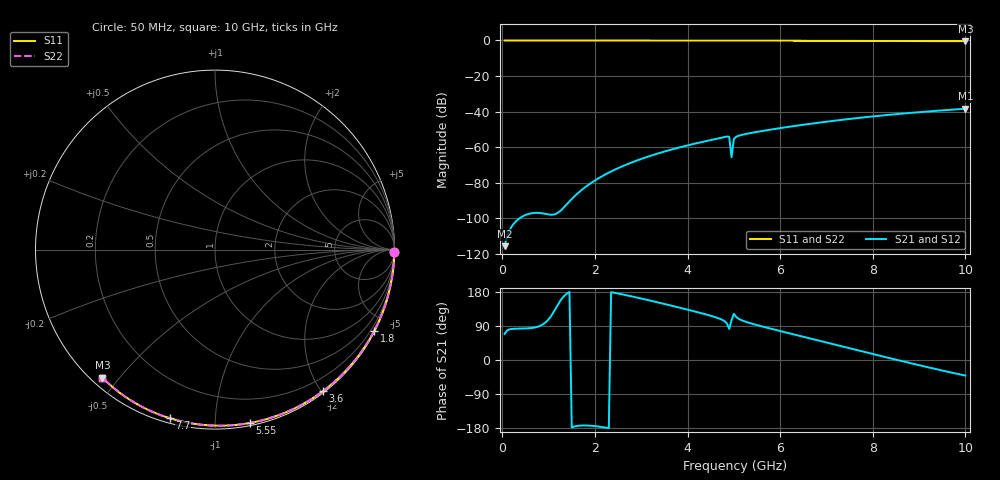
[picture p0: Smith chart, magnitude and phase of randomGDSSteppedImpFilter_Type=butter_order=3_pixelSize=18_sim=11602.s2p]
! freq	dB(S11)	phase(S11)	dB(S12)	phase(S12)
!  dB(S21)	phase(S21)	dB(S22)	phase(S22)
!S-par simulation data
#  GHz  S  DB  R 50
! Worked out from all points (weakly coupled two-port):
!   200 points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, 50 MHz to 10 GHz, reference 50 ohm
!   highest |S21| = -38.34 dB at 10 GHz (marker M1); lowest = -115.6 dB at 50 MHz (marker M2)
!   lowest |S11| = -0.4 dB at 10 GHz (marker M3), VSWR 39.09, Z = 1.54 - j22.6 ohm
!   |S11| at or under -10 dB: nowhere
!   |S22| runs from -0.4 to 0.0 dB; largest |S21 - S12| = 0
!   S11 on the Smith chart (normalised r, x): 50 MHz: open; 1.8 GHz: 0.04, -4.18; 3.6 GHz: 0.02, -2.02; 5.55 GHz: 0.02, -1.22; 7.7 GHz: 0.02, -0.77; 10 GHz: 0.03, -0.45
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0.05  -0.01 -0.8  -115.63 68.7  -115.63 68.7  -0.00 -0.8
0.9  -0.02 -13.6  -97.33 96.1  -97.33 96.1  -0.02 -13.6
1.75  -0.03 -26.2  -83.27 -172.7  -83.27 -172.7  -0.03 -26.2
1.8  -0.03 -26.9  -82.27 -172.7  -82.27 -172.7  -0.03 -26.9
1.9  -0.04 -28.4  -80.41 -173.3  -80.41 -173.3  -0.04 -28.4
1.95  -0.04 -29.1  -79.54 -173.8  -79.54 -173.8  -0.04 -29.1
2.25  -0.04 -33.5  -74.96 -178.8  -74.96 -178.8  -0.04 -33.5
2.55  -0.05 -37.8  -71.20 174.2  -71.20 174.2  -0.05 -37.8
2.95  -0.06 -43.5  -67.06 163.7  -67.06 163.7  -0.06 -43.5
3.4  -0.07 -49.8  -63.21 150.9  -63.21 150.9  -0.07 -49.8
3.6  -0.07 -52.6  -61.71 145.0  -61.71 145.0  -0.07 -52.6
4.85  -0.11 -69.5  -54.00 96.2  -54.00 96.2  -0.11 -69.5
4.9  -0.11 -70.2  -54.16 82.1  -54.16 82.1  -0.11 -70.2
4.95  -0.11 -70.8  -65.61 104.9  -65.61 104.9  -0.11 -70.8
5  -0.11 -71.4  -55.39 122.0  -55.39 122.0  -0.11 -71.4
5.05  -0.11 -72.1  -54.14 113.6  -54.14 113.6  -0.11 -72.1
5.2  -0.11 -74.1  -52.89 103.4  -52.89 103.4  -0.11 -74.1
5.55  -0.13 -78.6  -51.16 90.5  -51.16 90.5  -0.13 -78.6
6.7  -0.18 -93.0  -46.67 55.2  -46.67 55.2  -0.18 -93.0
7.7  -0.24 -104.9  -43.53 24.9  -43.53 24.9  -0.24 -104.9
8.35  -0.29 -112.5  -41.81 5.4  -41.81 5.4  -0.29 -112.5
10  -0.44 -131.3  -38.34 -41.2  -38.34 -41.2  -0.44 -131.3
